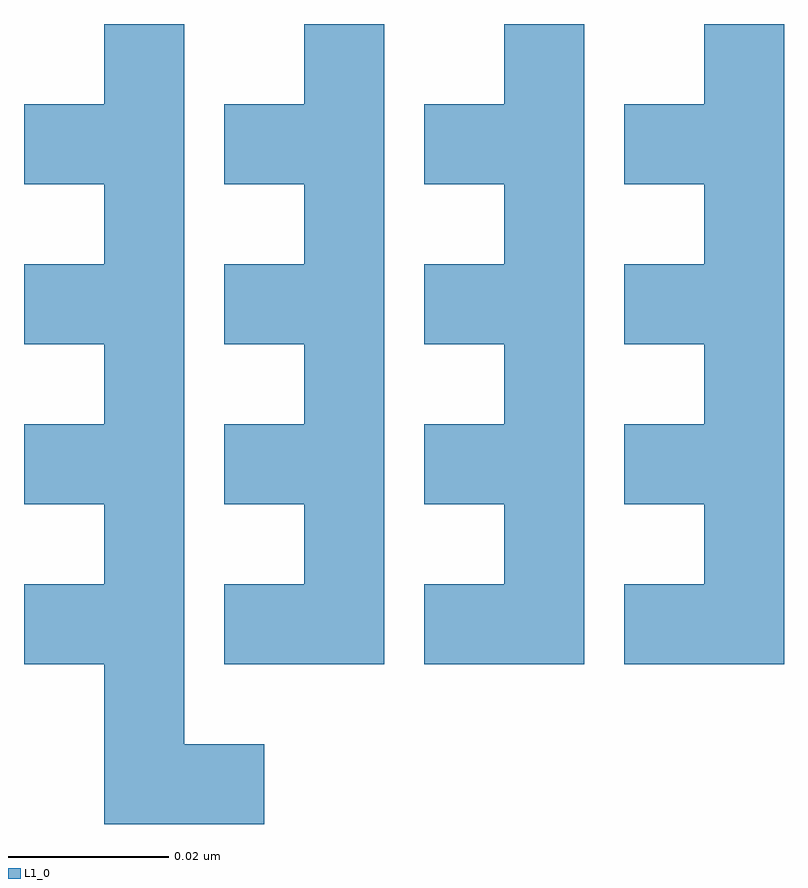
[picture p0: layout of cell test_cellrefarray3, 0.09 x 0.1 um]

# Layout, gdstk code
from math import pi, radians
import gdstk
lib = gdstk.Library(unit=1e-6, precision=1e-09)
def P(c, l, *ps):  # polygons
    for p in ps: c.add(gdstk.Polygon(p, *l))
L1_0 = (1, 0)

test = lib.new_cell('test')
P(test, L1_0, [(0,0),(0,0.02),(0.01,0.02),(0.01,0.01),(0.02,0.01),(0.02,0)])

test_cellrefarray3 = lib.new_cell('test_cellrefarray3')
test_cellrefarray3.add(gdstk.Reference(test, (0,0)))
r = gdstk.Reference(test, (0.01,0.02), rotation=pi/2); r.repetition = gdstk.Repetition(4, 4, v1=(0.025,0), v2=(0,0.02)); test_cellrefarray3.add(r)

lib.write_gds('test_cellrefarray3.gds')
